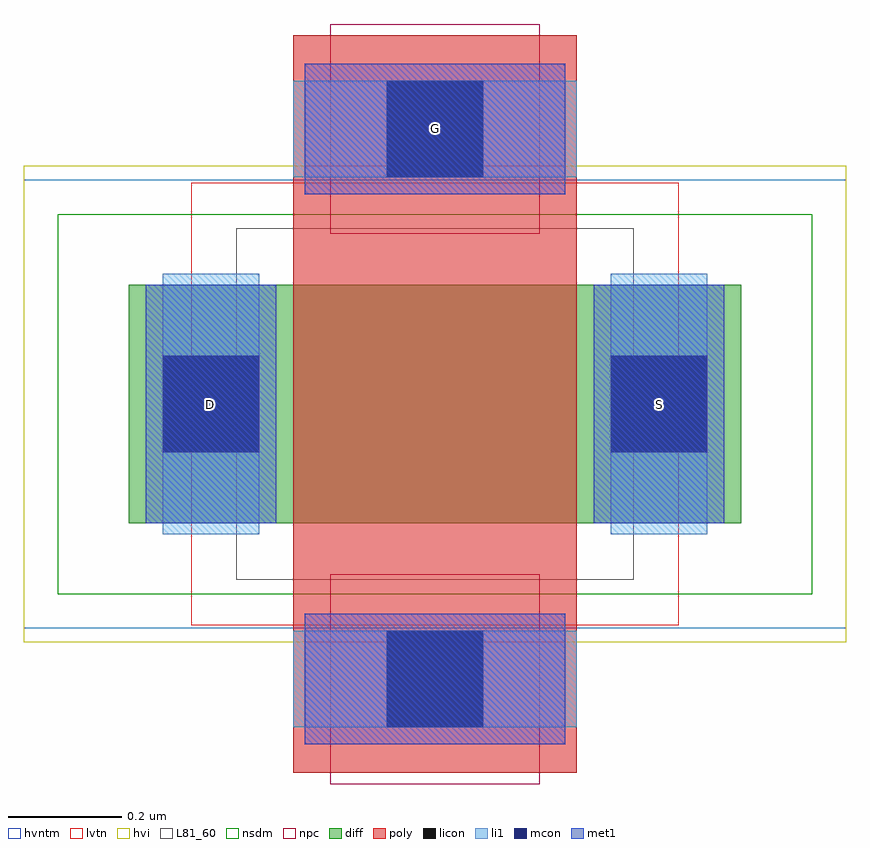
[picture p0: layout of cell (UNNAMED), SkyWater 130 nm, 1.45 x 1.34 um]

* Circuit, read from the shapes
.subckt (UNNAMED) D G S
XM1 S G D VSUBS sky130_fd_pr__nfet_05v0_nvt w=0.42 l=0.5
.ends

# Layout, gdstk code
import gdstk
lib = gdstk.Library(unit=1e-6, precision=1e-09)
def R(c, l, rs):  # rectangles x0, y0, x1, y1
    for r in rs: c.add(gdstk.rectangle(r[:2], r[2:], *l))
diff = (65, 20)
poly = (66, 20)
licon = (66, 44)
li1 = (67, 20)
mcon = (67, 44)
met1 = (68, 20)
hvi = (75, 20)
L81_60 = (81, 60)
nsdm = (93, 44)
npc = (95, 20)
hvntm = (125, 20)
lvtn = (125, 44)

c__unnamed_ = lib.new_cell('(UNNAMED)')
R(c__unnamed_, diff, [(-0.54,-0.21,0.54,0.21)])
R(c__unnamed_, poly, [(-0.25,-0.65,0.25,0.65)])
R(c__unnamed_, licon, [(-0.085,-0.57,0.085,-0.4), (-0.48,-0.085,-0.31,0.085), (0.31,-0.085,0.48,0.085), (-0.085,0.4,0.085,0.57)])
R(c__unnamed_, li1, [(-0.25,-0.57,0.25,-0.4), (-0.48,-0.23,-0.31,0.23), (0.31,-0.23,0.48,0.23), (-0.25,0.4,0.25,0.57)])
R(c__unnamed_, mcon, [(-0.085,-0.57,0.085,-0.4), (-0.48,-0.085,-0.31,0.085), (0.31,-0.085,0.48,0.085), (-0.085,0.4,0.085,0.57)])
R(c__unnamed_, met1, [(-0.23,-0.6,0.23,-0.37), (-0.51,-0.21,-0.28,0.21), (0.28,-0.21,0.51,0.21), (-0.23,0.37,0.23,0.6)])
R(c__unnamed_, hvi, [(-0.725,-0.42,0.725,0.42)])
R(c__unnamed_, L81_60, [(-0.35,-0.31,0.35,0.31)])
R(c__unnamed_, nsdm, [(-0.665,-0.335,0.665,0.335)])
R(c__unnamed_, npc, [(-0.185,-0.67,0.185,-0.3), (-0.185,0.3,0.185,0.67)])
R(c__unnamed_, hvntm, [(-0.725,-0.395,0.725,0.395)])
R(c__unnamed_, lvtn, [(-0.43,-0.39,0.43,0.39)])
c__unnamed_.add(gdstk.Label('D', (-0.395,0), layer=67, texttype=5))
c__unnamed_.add(gdstk.Label('S', (0.395,0), layer=67, texttype=5))
c__unnamed_.add(gdstk.Label('G', (0,0.485), layer=67, texttype=5))

lib.write_gds('_UNNAMED_.gds')
